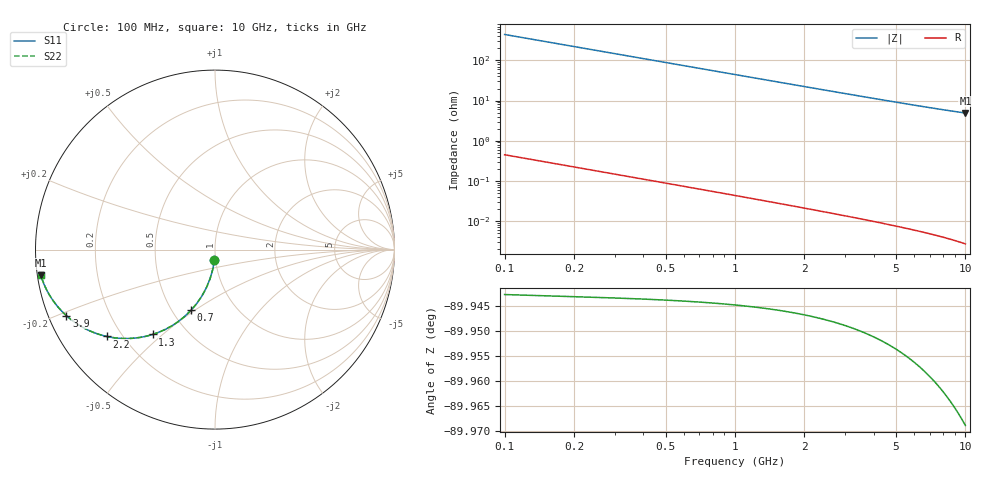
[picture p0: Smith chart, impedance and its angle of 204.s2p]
# Hz S RI R 50.00
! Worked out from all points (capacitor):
!   100 points, 100 MHz to 10 GHz, reference 50 ohm
!   read as one part in shunt: C = 3.57 pF near 100 MHz
!   lowest |Z| = 4.89 ohm at 10 GHz (marker M1)
!   S11 on the Smith chart (normalised r, x): 100 MHz: 0.99, -0.11; 700 MHz: 0.62, -0.48; 1.3 GHz: 0.32, -0.46; 2.2 GHz: 0.14, -0.34; 3.9 GHz: 0.05, -0.21; 10 GHz: 0.01, -0.07
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1e8  -0.00312 -0.0557  0.9967 -0.0562  0.9967 -0.0562  -0.00312 -0.0557
2e8  -0.0125 -0.1104  0.9874 -0.1112  0.9874 -0.1112  -0.0125 -0.1104
3e8  -0.0276 -0.163  0.9722 -0.1643  0.9722 -0.1643  -0.0276 -0.163
4e8  -0.0481 -0.2127  0.9518 -0.2145  0.9518 -0.2145  -0.0481 -0.2127
5e8  -0.0731 -0.2589  0.9267 -0.2611  0.9267 -0.2611  -0.0731 -0.2589
6e8  -0.102 -0.3009  0.8979 -0.3036  0.8979 -0.3036  -0.102 -0.3009
7e8  -0.1338 -0.3385  0.866 -0.3416  0.866 -0.3416  -0.1338 -0.3385
8e8  -0.1679 -0.3716  0.8319 -0.3751  0.8319 -0.3751  -0.1679 -0.3716
1e9  -0.2397 -0.4242  0.7602 -0.4286  0.7602 -0.4286  -0.2397 -0.4242
1.3e9  -0.3475 -0.4728  0.6523 -0.4786  0.6523 -0.4786  -0.3475 -0.4728
1.5e9  -0.4149 -0.4889  0.585 -0.4955  0.585 -0.4955  -0.4149 -0.4889
1.8e9  -0.5052 -0.4955  0.4946 -0.5034  0.4946 -0.5034  -0.5052 -0.4955
2.2e9  -0.6041 -0.4836  0.3957 -0.4934  0.3957 -0.4934  -0.6041 -0.4836
2.5e9  -0.6634 -0.4664  0.3364 -0.4775  0.3364 -0.4775  -0.6634 -0.4664
2.8e9  -0.7121 -0.446  0.2876 -0.4584  0.2876 -0.4584  -0.7121 -0.446
3.4e9  -0.7851 -0.4026  0.2146 -0.4177  0.2146 -0.4177  -0.7851 -0.4026
3.9e9  -0.828 -0.368  0.1717 -0.3855  0.1717 -0.3855  -0.828 -0.368
4.5e9  -0.8653 -0.3306  0.1343 -0.3508  0.1343 -0.3508  -0.8653 -0.3306
5.1e9  -0.8922 -0.2978  0.1074 -0.3209  0.1074 -0.3209  -0.8922 -0.2978
6.7e9  -0.9351 -0.2299  0.0642 -0.2605  0.0642 -0.2605  -0.9351 -0.2299
8.4e9  -0.9582 -0.179  0.0409 -0.2181  0.0409 -0.2181  -0.9582 -0.179
1e10  -0.9704 -0.1432  0.0282 -0.1906  0.0282 -0.1906  -0.9704 -0.1432
